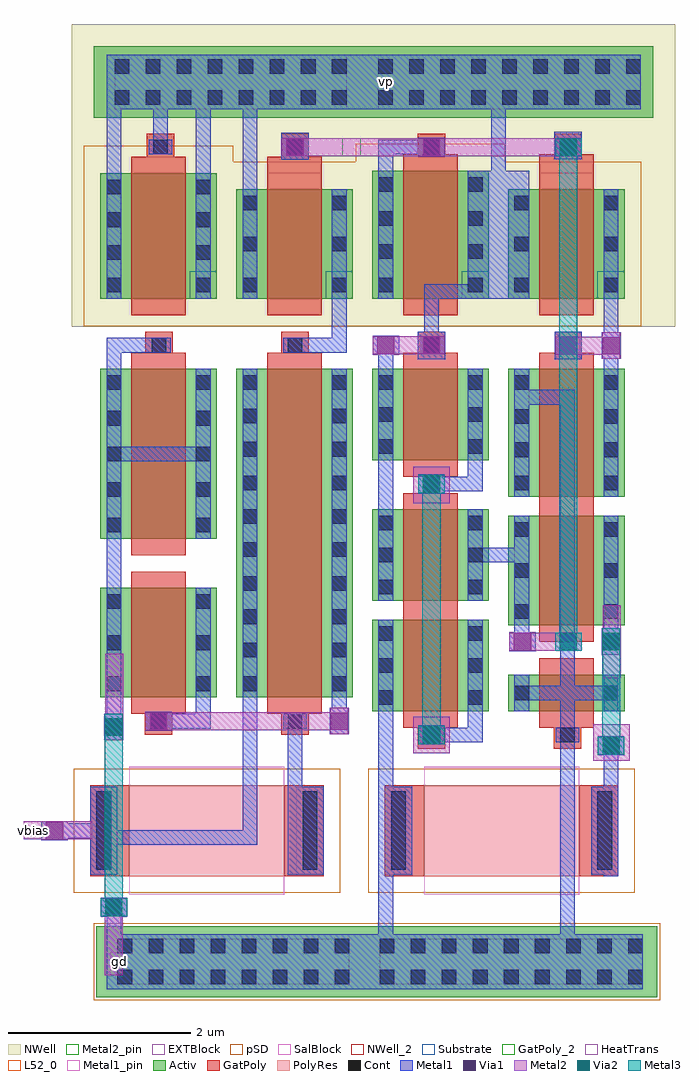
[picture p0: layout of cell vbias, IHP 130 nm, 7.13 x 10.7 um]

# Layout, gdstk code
from math import pi, radians
import gdstk
lib = gdstk.Library(unit=1e-6, precision=1e-09)
def R(c, l, rs):  # rectangles x0, y0, x1, y1
    for r in rs: c.add(gdstk.rectangle(r[:2], r[2:], *l))
def A(c, l, x, y, w, h, nx, ny, dx, dy):  # array of equal rectangles
    R(c, l, [(x+i*dx, y+j*dy, x+i*dx+w, y+j*dy+h) for i in range(nx) for j in range(ny)])
Activ = (1, 0)
GatPoly = (5, 0)
GatPoly_2 = (5, 2)
Cont = (6, 0)
Metal1 = (8, 0)
Metal1_pin = (8, 2)
Metal2 = (10, 0)
Metal2_pin = (10, 2)
pSD = (14, 0)
Via1 = (19, 0)
SalBlock = (28, 0)
Via2 = (29, 0)
Metal3 = (30, 0)
NWell = (31, 0)
NWell_2 = (31, 2)
Substrate = (40, 0)
HeatTrans = (51, 0)
L52_0 = (52, 0)
EXTBlock = (111, 0)
PolyRes = (128, 0)

via_11 = lib.new_cell('Via$11')
R(via_11, GatPoly, [(-0.15,-0.15,0.15,0.15)])
R(via_11, Cont, [(-0.08,-0.08,0.08,0.08)])
R(via_11, Metal1, [(-0.13,-0.08,0.13,0.08)])

pmos_4 = lib.new_cell('pmos$4')
R(pmos_4, Activ, [(0,0,0.3,0.3), (0,0,1.28,1.375), (0.98,0,1.28,0.3)])
R(pmos_4, GatPoly, [(0.34,-0.18,0.94,1.555), (0.34,-0.18,0.94,1.555)])
A(pmos_4, Cont, 0.07, 0.425, 0.16, 0.16, 1, 3, 0, 0.36)
A(pmos_4, Cont, 1.05, 0.425, 0.16, 0.16, 1, 3, 0, 0.36)
R(pmos_4, Cont, [(0.07,0.07,0.23,0.23), (1.05,0.07,1.21,0.23)])
R(pmos_4, Metal1, [(0.07,0,0.23,1.375), (0.07,0,0.23,1.375), (1.05,0,1.21,1.375), (1.05,0,1.21,1.375)])
R(pmos_4, pSD, [(-0.18,-0.3,1.46,1.675)])
R(pmos_4, NWell, [(-0.31,-0.31,1.59,1.685)])
R(pmos_4, Substrate, [(0.98,0,1.28,0.3)])
R(pmos_4, HeatTrans, [(0.34,-0.18,0.94,1.555)])
pmos_4.add(gdstk.Label('pmos', (0.64,0.688), layer=63, texttype=0))
pmos_4.add(gdstk.Label('pmos', (0.64,0.688), layer=51, texttype=0))

nmos_14 = lib.new_cell('nmos$14')
R(nmos_14, Activ, [(0,0,0.3,0.3), (0,0,1.28,1.86), (0.98,0,1.28,0.3)])
R(nmos_14, GatPoly, [(0.34,-0.18,0.94,2.04)])
R(nmos_14, GatPoly_2, [(0.34,-0.18,0.94,2.04)])
A(nmos_14, Cont, 0.07, 0.07, 0.16, 0.16, 1, 5, 0, 0.39)
A(nmos_14, Cont, 1.05, 0.07, 0.16, 0.16, 1, 5, 0, 0.39)
R(nmos_14, Metal1, [(0.07,0,0.23,1.86), (1.05,0,1.21,1.86)])
R(nmos_14, Metal1_pin, [(0.07,0,0.23,1.86), (1.05,0,1.21,1.86)])
R(nmos_14, HeatTrans, [(0.34,-0.18,0.94,2.04)])
nmos_14.add(gdstk.Label('nmos', (0.64,0.93), layer=63, texttype=0))
nmos_14.add(gdstk.Label('nmos', (0.64,0.93), layer=51, texttype=0))

via_19 = lib.new_cell('Via$19')
R(via_19, Metal1, [(-0.145,-0.105,0.145,0.105)])
R(via_19, Metal2, [(-0.145,-0.1,0.145,0.1)])
R(via_19, Via1, [(-0.095,-0.095,0.095,0.095)])

via_18 = lib.new_cell('Via$18')
R(via_18, Metal1, [(-0.145,-0.105,0.145,0.105)])
R(via_18, Metal2, [(-0.145,-0.1,0.145,0.1)])
R(via_18, Via1, [(-0.095,-0.095,0.095,0.095)])

via_16 = lib.new_cell('Via$16')
R(via_16, Metal2, [(-0.145,-0.1,0.145,0.1)])
R(via_16, Via2, [(-0.095,-0.095,0.095,0.095)])
R(via_16, Metal3, [(-0.145,-0.1,0.145,0.1)])

via_12 = lib.new_cell('Via$12')
R(via_12, Metal1, [(-0.145,-0.105,0.145,0.105)])
R(via_12, Metal2, [(-0.145,-0.1,0.145,0.1)])
R(via_12, Via1, [(-0.095,-0.095,0.095,0.095)])

via_15 = lib.new_cell('Via$15')
R(via_15, Metal1, [(-0.145,-0.105,0.145,0.105)])
R(via_15, Metal2, [(-0.145,-0.1,0.145,0.1)])
R(via_15, Via1, [(-0.095,-0.095,0.095,0.095)])

via_40 = lib.new_cell('Via$40')
R(via_40, Metal1, [(-0.145,-0.105,0.145,0.105)])
R(via_40, Metal2, [(-0.145,-0.1,0.145,0.1)])
R(via_40, Via1, [(-0.095,-0.095,0.095,0.095)])

ntap1_1_1 = lib.new_cell('ntap1$1$1')
R(ntap1_1_1, Activ, [(0,0,3,0.78)])
A(ntap1_1_1, Cont, 0.23, 0.14, 0.16, 0.16, 8, 2, 0.34, 0.34)
R(ntap1_1_1, Metal1, [(0.23,0.09,2.77,0.69)])
R(ntap1_1_1, Metal1_pin, [(0.23,0.09,2.77,0.69), (0.23,0.14,2.77,0.64)])
R(ntap1_1_1, NWell, [(-0.24,-0.24,3.24,1.02), (0,0,3,0.78)])
R(ntap1_1_1, NWell_2, [(0,0,3,0.78)])
ntap1_1_1.add(gdstk.Label('well', (1.5,0.01), layer=31, texttype=0))
ntap1_1_1.add(gdstk.Label('well', (1.5,0.01), layer=63, texttype=0))

pmos_2 = lib.new_cell('pmos$2')
R(pmos_2, Activ, [(0,0,0.3,0.3), (0,0,1.28,1.2), (0.98,0,1.28,0.3)])
R(pmos_2, GatPoly, [(0.34,-0.18,0.94,1.38), (0.34,-0.18,0.94,1.38)])
A(pmos_2, Cont, 0.07, 0.07, 0.16, 0.16, 1, 3, 0, 0.45)
A(pmos_2, Cont, 1.05, 0.07, 0.16, 0.16, 1, 3, 0, 0.45)
R(pmos_2, Metal1, [(0.07,0,0.23,1.2), (0.07,0,0.23,1.2), (1.05,0,1.21,1.2), (1.05,0,1.21,1.2)])
R(pmos_2, pSD, [(-0.18,-0.3,1.46,1.5)])
R(pmos_2, NWell, [(-0.31,-0.31,1.59,1.51)])
R(pmos_2, Substrate, [(0.98,0,1.28,0.3)])
R(pmos_2, HeatTrans, [(0.34,-0.18,0.94,1.38)])
pmos_2.add(gdstk.Label('pmos', (0.64,0.6), layer=63, texttype=0))
pmos_2.add(gdstk.Label('pmos', (0.64,0.6), layer=51, texttype=0))

ptap1_1_1 = lib.new_cell('ptap1$1$1')
R(ptap1_1_1, Activ, [(0,0,3,0.78)])
A(ptap1_1_1, Cont, 0.23, 0.14, 0.16, 0.16, 8, 2, 0.34, 0.34)
R(ptap1_1_1, Metal1, [(0.23,0.09,2.77,0.69), (0.23,0.14,2.77,0.64)])
R(ptap1_1_1, Metal1_pin, [(0.23,0.14,2.77,0.64)])
R(ptap1_1_1, pSD, [(-0.03,-0.03,3.03,0.81)])
R(ptap1_1_1, Substrate, [(0,0,3,0.78)])
ptap1_1_1.add(gdstk.Label('sub!', (1.5,0.01), layer=63, texttype=0))
ptap1_1_1.add(gdstk.Label('sub!', (1.5,0.01), layer=40, texttype=0))

rppd = lib.new_cell('rppd')
R(rppd, GatPoly, [(0,-0.43,1,-0.2), (0,-0.2,1,0), (0,1.7,1,1.9), (0,1.9,1,2.13)])
R(rppd, Cont, [(0.07,-0.36,0.93,-0.2), (0.07,1.9,0.93,2.06)])
R(rppd, Metal1, [(0.02,-0.43,0.98,-0.13), (0.02,1.83,0.98,2.13)])
R(rppd, Metal1_pin, [(0.02,-0.43,0.98,-0.13), (0.02,1.83,0.98,2.13)])
R(rppd, pSD, [(-0.18,-0.61,1.18,0), (-0.18,0,1.18,1.7), (-0.18,1.7,1.18,2.31)])
R(rppd, SalBlock, [(-0.2,0,1.2,1.7)])
R(rppd, L52_0, [(0,0,1,1.7)])
R(rppd, EXTBlock, [(-0.18,-0.61,1.18,0), (-0.2,0,1.2,1.7), (-0.18,1.7,1.18,2.31)])
R(rppd, PolyRes, [(0,0,1,1.7)])
rppd.add(gdstk.Label('rppd r=509.364', (0.5,0.85), layer=63, texttype=0))
rppd.add(gdstk.Label('rppd', (0.5,0.85), layer=52, texttype=0))

nmos_4 = lib.new_cell('nmos$4')
R(nmos_4, Activ, [(0,0,0.3,0.3), (0,0,1.28,1.2), (0.98,0,1.28,0.3)])
R(nmos_4, GatPoly, [(0.34,-0.18,0.94,1.38)])
R(nmos_4, GatPoly_2, [(0.34,-0.18,0.94,1.38)])
A(nmos_4, Cont, 0.07, 0.07, 0.16, 0.16, 1, 3, 0, 0.45)
A(nmos_4, Cont, 1.05, 0.07, 0.16, 0.16, 1, 3, 0, 0.45)
R(nmos_4, Metal1, [(0.07,0,0.23,1.2), (1.05,0,1.21,1.2)])
R(nmos_4, Metal1_pin, [(0.07,0,0.23,1.2), (1.05,0,1.21,1.2)])
R(nmos_4, HeatTrans, [(0.34,-0.18,0.94,1.38)])
nmos_4.add(gdstk.Label('nmos', (0.64,0.6), layer=63, texttype=0))
nmos_4.add(gdstk.Label('nmos', (0.64,0.6), layer=51, texttype=0))

nmos_5 = lib.new_cell('nmos$5')
R(nmos_5, Activ, [(0,0,0.3,0.3), (0,0,1.28,3.6), (0.98,0,1.28,0.3)])
R(nmos_5, GatPoly, [(0.34,-0.18,0.94,3.78)])
R(nmos_5, GatPoly_2, [(0.34,-0.18,0.94,3.78)])
A(nmos_5, Cont, 0.07, 0.07, 0.16, 0.16, 1, 3, 0, 0.365)
A(nmos_5, Cont, 1.05, 0.07, 0.16, 0.16, 1, 3, 0, 0.365)
A(nmos_5, Cont, 0.07, 1.17, 0.16, 0.16, 1, 3, 0, 0.365)
A(nmos_5, Cont, 1.05, 1.17, 0.16, 0.16, 1, 3, 0, 0.365)
A(nmos_5, Cont, 0.07, 2.27, 0.16, 0.16, 1, 3, 0, 0.365)
A(nmos_5, Cont, 1.05, 2.27, 0.16, 0.16, 1, 3, 0, 0.365)
R(nmos_5, Cont, [(0.07,3.37,0.23,3.53), (1.05,3.37,1.21,3.53)])
R(nmos_5, Metal1, [(0.07,0,0.23,3.6), (1.05,0,1.21,3.6)])
R(nmos_5, Metal1_pin, [(0.07,0,0.23,3.6), (1.05,0,1.21,3.6)])
R(nmos_5, HeatTrans, [(0.34,-0.18,0.94,3.78)])
nmos_5.add(gdstk.Label('nmos', (0.64,1.8), layer=63, texttype=0))
nmos_5.add(gdstk.Label('nmos', (0.64,1.8), layer=51, texttype=0))

via_5 = lib.new_cell('Via$5')
R(via_5, Metal2, [(-0.145,-0.1,0.145,0.1)])
R(via_5, Via2, [(-0.095,-0.095,0.095,0.095)])
R(via_5, Metal3, [(-0.145,-0.1,0.145,0.1)])

via_3 = lib.new_cell('Via$3')
R(via_3, Metal1, [(-0.145,-0.105,0.145,0.105)])
R(via_3, Metal2, [(-0.145,-0.1,0.145,0.1)])
R(via_3, Via1, [(-0.095,-0.095,0.095,0.095)])

nmos_6 = lib.new_cell('nmos$6')
R(nmos_6, Activ, [(0,0,0.3,0.3), (0,0,1.28,1.2), (0.98,0,1.28,0.3)])
R(nmos_6, GatPoly, [(0.34,-0.18,0.94,1.38)])
R(nmos_6, GatPoly_2, [(0.34,-0.18,0.94,1.38)])
A(nmos_6, Cont, 0.07, 0.07, 0.16, 0.16, 1, 3, 0, 0.45)
A(nmos_6, Cont, 1.05, 0.07, 0.16, 0.16, 1, 3, 0, 0.45)
R(nmos_6, Metal1, [(0.07,0,0.23,1.2), (1.05,0,1.21,1.2)])
R(nmos_6, Metal1_pin, [(0.07,0,0.23,1.2), (1.05,0,1.21,1.2)])
R(nmos_6, HeatTrans, [(0.34,-0.18,0.94,1.38)])
nmos_6.add(gdstk.Label('nmos', (0.64,0.6), layer=63, texttype=0))
nmos_6.add(gdstk.Label('nmos', (0.64,0.6), layer=51, texttype=0))

via_20 = lib.new_cell('Via$20')
R(via_20, Metal1, [(-0.145,-0.105,0.145,0.105)])
R(via_20, Metal2, [(-0.145,-0.1,0.145,0.1)])
R(via_20, Via1, [(-0.095,-0.095,0.095,0.095)])

via_8 = lib.new_cell('Via$8')
R(via_8, Metal1, [(-0.145,-0.105,0.145,0.105)])
R(via_8, Metal2, [(-0.145,-0.1,0.145,0.1)])
R(via_8, Via1, [(-0.095,-0.095,0.095,0.095)])

via_10 = lib.new_cell('Via$10')
R(via_10, Metal1, [(-0.145,-0.105,0.145,0.105)])
R(via_10, Metal2, [(-0.145,-0.1,0.145,0.1)])
R(via_10, Via1, [(-0.095,-0.095,0.095,0.095)])

pmos_1 = lib.new_cell('pmos$1')
R(pmos_1, Activ, [(0,0,0.3,0.3), (0,0,1.28,1.4), (0.98,0,1.28,0.3)])
R(pmos_1, GatPoly, [(0.34,-0.18,0.94,1.58), (0.34,-0.18,0.94,1.58)])
A(pmos_1, Cont, 0.07, 0.07, 0.16, 0.16, 1, 3, 0, 0.365)
A(pmos_1, Cont, 1.05, 0.07, 0.16, 0.16, 1, 3, 0, 0.365)
R(pmos_1, Cont, [(0.07,1.17,0.23,1.33), (1.05,1.17,1.21,1.33)])
R(pmos_1, Metal1, [(0.07,0,0.23,1.4), (0.07,0,0.23,1.4), (1.05,0,1.21,1.4), (1.05,0,1.21,1.4)])
R(pmos_1, pSD, [(-0.18,-0.3,1.46,1.7)])
R(pmos_1, NWell, [(-0.31,-0.31,1.59,1.71)])
R(pmos_1, Substrate, [(0.98,0,1.28,0.3)])
R(pmos_1, HeatTrans, [(0.34,-0.18,0.94,1.58)])
pmos_1.add(gdstk.Label('pmos', (0.64,0.7), layer=63, texttype=0))
pmos_1.add(gdstk.Label('pmos', (0.64,0.7), layer=51, texttype=0))

via_7 = lib.new_cell('Via$7')
R(via_7, Metal1, [(-0.145,-0.105,0.145,0.105)])
R(via_7, Metal2, [(-0.145,-0.1,0.145,0.1)])
R(via_7, Via1, [(-0.095,-0.095,0.095,0.095)])

via_9 = lib.new_cell('Via$9')
R(via_9, Metal1, [(-0.145,-0.105,0.145,0.105)])
R(via_9, Metal2, [(-0.145,-0.1,0.145,0.1)])
R(via_9, Via1, [(-0.095,-0.095,0.095,0.095)])

via_2 = lib.new_cell('Via$2')
R(via_2, Metal2, [(-0.145,-0.1,0.145,0.1)])
R(via_2, Via2, [(-0.095,-0.095,0.095,0.095)])
R(via_2, Metal3, [(-0.145,-0.1,0.145,0.1)])

via_6 = lib.new_cell('Via$6')
R(via_6, Metal1, [(-0.145,-0.105,0.145,0.105)])
R(via_6, Metal2, [(-0.145,-0.1,0.145,0.1)])
R(via_6, Via1, [(-0.095,-0.095,0.095,0.095)])

pmos_3 = lib.new_cell('pmos$3')
R(pmos_3, Activ, [(0,0,0.3,0.3), (0,0,1.28,1.2), (0.98,0,1.28,0.3)])
R(pmos_3, GatPoly, [(0.34,-0.18,0.94,1.38), (0.34,-0.18,0.94,1.38)])
A(pmos_3, Cont, 0.07, 0.07, 0.16, 0.16, 1, 3, 0, 0.45)
A(pmos_3, Cont, 1.05, 0.07, 0.16, 0.16, 1, 3, 0, 0.45)
R(pmos_3, Metal1, [(0.07,0,0.23,1.2), (0.07,0,0.23,1.2), (1.05,0,1.21,1.2), (1.05,0,1.21,1.2)])
R(pmos_3, pSD, [(-0.18,-0.3,1.46,1.5)])
R(pmos_3, NWell, [(-0.31,-0.31,1.59,1.51)])
R(pmos_3, Substrate, [(0.98,0,1.28,0.3)])
R(pmos_3, HeatTrans, [(0.34,-0.18,0.94,1.38)])
pmos_3.add(gdstk.Label('pmos', (0.64,0.6), layer=63, texttype=0))
pmos_3.add(gdstk.Label('pmos', (0.64,0.6), layer=51, texttype=0))

ptap1_1 = lib.new_cell('ptap1$1')
R(ptap1_1, Activ, [(0,0,3.2,0.78)])
A(ptap1_1, Cont, 0.16, 0.14, 0.16, 0.16, 9, 2, 0.34, 0.34)
R(ptap1_1, Metal1, [(0.16,0.09,3.04,0.69), (0.16,0.14,3.04,0.64)])
R(ptap1_1, Metal1_pin, [(0.16,0.14,3.04,0.64)])
R(ptap1_1, pSD, [(-0.03,-0.03,3.23,0.81)])
R(ptap1_1, Substrate, [(0,0,3.2,0.78)])
ptap1_1.add(gdstk.Label('sub!', (1.6,0.01), layer=63, texttype=0))
ptap1_1.add(gdstk.Label('sub!', (1.6,0.01), layer=40, texttype=0))

nmos_2 = lib.new_cell('nmos$2')
R(nmos_2, Activ, [(0,0,0.3,0.3), (0,0,1.28,1.4), (0.98,0,1.28,0.3)])
R(nmos_2, GatPoly, [(0.34,-0.18,0.94,1.58)])
R(nmos_2, GatPoly_2, [(0.34,-0.18,0.94,1.58)])
A(nmos_2, Cont, 0.07, 0.07, 0.16, 0.16, 1, 3, 0, 0.365)
A(nmos_2, Cont, 1.05, 0.07, 0.16, 0.16, 1, 3, 0, 0.365)
R(nmos_2, Cont, [(0.07,1.17,0.23,1.33), (1.05,1.17,1.21,1.33)])
R(nmos_2, Metal1, [(0.07,0,0.23,1.4), (1.05,0,1.21,1.4)])
R(nmos_2, Metal1_pin, [(0.07,0,0.23,1.4), (1.05,0,1.21,1.4)])
R(nmos_2, HeatTrans, [(0.34,-0.18,0.94,1.58)])
nmos_2.add(gdstk.Label('nmos', (0.64,0.7), layer=63, texttype=0))
nmos_2.add(gdstk.Label('nmos', (0.64,0.7), layer=51, texttype=0))

via_4 = lib.new_cell('Via$4')
R(via_4, Metal1, [(-0.145,-0.105,0.145,0.105)])
R(via_4, Metal2, [(-0.145,-0.1,0.145,0.1)])
R(via_4, Via1, [(-0.095,-0.095,0.095,0.095)])

nmos_1 = lib.new_cell('nmos$1')
R(nmos_1, Activ, [(0,0,0.3,0.3), (0,0,1.28,1), (0.98,0,1.28,0.3)])
R(nmos_1, GatPoly, [(0.34,-0.18,0.94,1.18)])
R(nmos_1, GatPoly_2, [(0.34,-0.18,0.94,1.18)])
A(nmos_1, Cont, 0.07, 0.07, 0.16, 0.16, 1, 3, 0, 0.35)
A(nmos_1, Cont, 1.05, 0.07, 0.16, 0.16, 1, 3, 0, 0.35)
R(nmos_1, Metal1, [(0.07,0,0.23,1), (1.05,0,1.21,1)])
R(nmos_1, Metal1_pin, [(0.07,0,0.23,1), (1.05,0,1.21,1)])
R(nmos_1, HeatTrans, [(0.34,-0.18,0.94,1.18)])
nmos_1.add(gdstk.Label('nmos', (0.64,0.5), layer=63, texttype=0))
nmos_1.add(gdstk.Label('nmos', (0.64,0.5), layer=51, texttype=0))

via_1 = lib.new_cell('Via$1')
R(via_1, GatPoly, [(-0.15,-0.15,0.15,0.15)])
R(via_1, Cont, [(-0.08,-0.08,0.08,0.08)])
R(via_1, Metal1, [(-0.13,-0.08,0.13,0.08)])

nmos_3 = lib.new_cell('nmos$3')
R(nmos_3, Activ, [(0,0,0.3,0.3), (0,0,1.28,0.4), (0.98,0,1.28,0.3)])
R(nmos_3, GatPoly, [(0.34,-0.18,0.94,0.58)])
R(nmos_3, GatPoly_2, [(0.34,-0.18,0.94,0.58)])
R(nmos_3, Cont, [(0.07,0.12,0.23,0.28), (1.05,0.12,1.21,0.28)])
R(nmos_3, Metal1, [(0.07,0,0.23,0.4), (1.05,0,1.21,0.4)])
R(nmos_3, Metal1_pin, [(0.07,0,0.23,0.4), (1.05,0,1.21,0.4)])
R(nmos_3, HeatTrans, [(0.34,-0.18,0.94,0.58)])
nmos_3.add(gdstk.Label('nmos', (0.64,0.2), layer=63, texttype=0))
nmos_3.add(gdstk.Label('nmos', (0.64,0.2), layer=51, texttype=0))

via_13 = lib.new_cell('Via$13')
R(via_13, Metal1, [(-0.145,-0.105,0.145,0.105)])
R(via_13, Metal2, [(-0.145,-0.1,0.145,0.1)])
R(via_13, Via1, [(-0.095,-0.095,0.095,0.095)])

rppd_1 = lib.new_cell('rppd$1')
R(rppd_1, GatPoly, [(0,-0.43,1,-0.2), (0,-0.2,1,0), (0,1.7,1,1.9), (0,1.9,1,2.13)])
R(rppd_1, Cont, [(0.07,-0.36,0.93,-0.2), (0.07,1.9,0.93,2.06)])
R(rppd_1, Metal1, [(0.02,-0.43,0.98,-0.13), (0.02,1.83,0.98,2.13)])
R(rppd_1, Metal1_pin, [(0.02,-0.43,0.98,-0.13), (0.02,1.83,0.98,2.13)])
R(rppd_1, pSD, [(-0.18,-0.61,1.18,0), (-0.18,0,1.18,1.7), (-0.18,1.7,1.18,2.31)])
R(rppd_1, SalBlock, [(-0.2,0,1.2,1.7)])
R(rppd_1, L52_0, [(0,0,1,1.7)])
R(rppd_1, EXTBlock, [(-0.18,-0.61,1.18,0), (-0.2,0,1.2,1.7), (-0.18,1.7,1.18,2.31)])
R(rppd_1, PolyRes, [(0,0,1,1.7)])
rppd_1.add(gdstk.Label('rppd r=509.364', (0.5,0.85), layer=63, texttype=0))
rppd_1.add(gdstk.Label('rppd', (0.5,0.85), layer=52, texttype=0))

ntap1_1 = lib.new_cell('ntap1$1')
R(ntap1_1, Activ, [(0,0,3.15,0.78)])
A(ntap1_1, Cont, 0.135, 0.14, 0.16, 0.16, 9, 2, 0.34, 0.34)
R(ntap1_1, Metal1, [(0.135,0.09,3.015,0.69)])
R(ntap1_1, Metal1_pin, [(0.135,0.09,3.015,0.69), (0.135,0.14,3.015,0.64)])
R(ntap1_1, NWell, [(-0.24,-0.24,3.39,1.02), (0,0,3.15,0.78)])
R(ntap1_1, NWell_2, [(0,0,3.15,0.78)])
ntap1_1.add(gdstk.Label('well', (1.575,0.01), layer=31, texttype=0))
ntap1_1.add(gdstk.Label('well', (1.575,0.01), layer=63, texttype=0))

curr_source = lib.new_cell('curr_source')
R(curr_source, GatPoly, [(3.695,6.615,4.295,6.815)])
R(curr_source, Metal1, [(1.935,-1.07,2.305,-0.115), (2.365,4.57,2.665,4.87), (3.865,4.57,4.165,4.87), (2.915,5.235,3.585,6.635), (3.86,6.765,4.16,7.065)])
R(curr_source, Metal1_pin, [(1.95,-2.14,2.15,-1.94), (1.95,7.545,2.08,7.675)])
R(curr_source, Metal2, [(4.29,0.17,4.69,0.57), (2.315,0.255,2.715,0.655), (4.39,1.075,4.59,1.875), (2.315,2.995,2.715,3.395)])
R(curr_source, Metal2_pin, [(1.54,6.795,1.74,6.995)])
R(curr_source, NWell, [(1.555,4.925,5.185,8.245)])
curr_source.add(gdstk.FlexPath([(2.015,-1.53),(2.015,-2.33)], 0.16, ends="flush", simple_path=True, layer=8, datatype=0))  # Metal1
curr_source.add(gdstk.FlexPath([(4.005,-1.68),(4.005,-2.33)], 0.16, ends="flush", simple_path=True, layer=8, datatype=0))  # Metal1
curr_source.add(gdstk.FlexPath([(4.485,1.655),(4.485,1.48)], 0.16, ends="flush", simple_path=True, layer=8, datatype=0))  # Metal1
curr_source.add(gdstk.FlexPath([(4.485,0.335),(4.485,-1.095)], 0.16, ends="flush", simple_path=True, layer=8, datatype=0))  # Metal1
curr_source.add(gdstk.FlexPath([(3.995,0.915),(3.585,0.915),(3.585,0.915)], 0.16, ends="flush", simple_path=True, layer=8, datatype=0))  # Metal1
curr_source.add(gdstk.FlexPath([(3.995,0.915),(4.405,0.915)], 0.16, ends="flush", simple_path=True, layer=8, datatype=0))  # Metal1
curr_source.add(gdstk.FlexPath([(2.515,3.205),(3.075,3.205)], 0.16, ends="flush", simple_path=True, layer=8, datatype=0))  # Metal1
curr_source.add(gdstk.FlexPath([(2.015,2.925),(2.015,3.465)], 0.16, ends="flush", simple_path=True, layer=8, datatype=0))  # Metal1
curr_source.add(gdstk.FlexPath([(4.005,-0.815),(4.005,-1.775)], 0.16, ends="flush", simple_path=True, layer=8, datatype=0))  # Metal1
curr_source.add(gdstk.FlexPath([(2.015,4.465),(2.015,4.62)], 0.16, ends="flush", simple_path=True, layer=8, datatype=0))  # Metal1
curr_source.add(gdstk.FlexPath([(2.645,0.455),(3.075,0.455)], 0.16, ends="flush", simple_path=True, layer=8, datatype=0))  # Metal1
curr_source.add(gdstk.FlexPath([(2.995,3.465),(2.995,3.285)], 0.16, ends="flush", simple_path=True, layer=8, datatype=0))  # Metal1
curr_source.add(gdstk.FlexPath([(3.25,6.635),(3.25,7.315)], 0.16, ends="flush", simple_path=True, layer=8, datatype=0))  # Metal1
curr_source.add(gdstk.FlexPath([(2.995,0.715),(2.995,0.375)], 0.16, ends="flush", simple_path=True, layer=8, datatype=0))  # Metal1
curr_source.add(gdstk.FlexPath([(2.515,0.455),(2.515,0.455)], 0.16, ends="flush", simple_path=True, layer=8, datatype=0))  # Metal1
curr_source.add(gdstk.FlexPath([(4.485,4.72),(4.485,4.72)], 0.16, ends="flush", simple_path=True, layer=8, datatype=0))  # Metal1
curr_source.add(gdstk.FlexPath([(2.515,4.725),(2.515,4.725)], 0.16, ends="flush", simple_path=True, layer=8, datatype=0))  # Metal1
curr_source.add(gdstk.FlexPath([(4.015,6.895),(4.015,6.895)], 0.16, ends="flush", simple_path=True, layer=8, datatype=0))  # Metal1
curr_source.add(gdstk.FlexPath([(2.015,6.635),(2.015,6.885),(2.015,6.89),(2.015,6.895),(2.385,6.895),(2.385,6.895),(2.385,6.895)], 0.16, ends="flush", simple_path=True, layer=8, datatype=0))  # Metal1
curr_source.add(gdstk.FlexPath([(2.365,6.895),(2.515,6.895)], 0.16, ends="flush", simple_path=True, layer=8, datatype=0))  # Metal1
curr_source.add(gdstk.FlexPath([(2.515,5.15),(2.515,5.395)], 0.16, ends="flush", simple_path=True, layer=8, datatype=0))  # Metal1
curr_source.add(gdstk.FlexPath([(4.485,5.235),(4.485,4.48)], 0.16, ends="flush", simple_path=True, layer=8, datatype=0))  # Metal1
curr_source.add(gdstk.FlexPath([(4.485,4.49),(4.485,4.465)], 0.16, ends="flush", simple_path=True, layer=8, datatype=0))  # Metal1
curr_source.add(gdstk.FlexPath([(3.075,2.425),(3.425,2.425)], 0.16, ends="flush", simple_path=True, layer=8, datatype=0))  # Metal1
curr_source.add(gdstk.FlexPath([(2.515,4.805),(2.515,5.2)], 0.16, ends="flush", simple_path=True, layer=8, datatype=0))  # Metal1
curr_source.add(gdstk.FlexPath([(3.575,4.155),(4.005,4.155),(4.005,-0.965)], 0.16, ends="flush", simple_path=True, layer=8, datatype=0))  # Metal1
curr_source.add(gdstk.FlexPath([(2.015,0.715),(2.015,-1.725),(2.015,-1.725)], 0.16, ends="flush", simple_path=True, layer=8, datatype=0))  # Metal1
curr_source.add(gdstk.FlexPath([(2.995,3.34),(2.995,3.125)], 0.16, ends="flush", simple_path=True, layer=8, datatype=0))  # Metal1
curr_source.add(gdstk.FlexPath([(2.915,5.315),(2.435,5.315)], 0.16, ends="flush", simple_path=True, layer=8, datatype=0))  # Metal1
curr_source.add(gdstk.FlexPath([(3.505,1.655),(3.505,1.575)], 0.16, ends="flush", simple_path=True, layer=8, datatype=0))  # Metal1
curr_source.add(gdstk.FlexPath([(4.485,1.48),(4.485,1.48)], 0.2, ends="flush", simple_path=True, layer=10, datatype=0))  # Metal2
curr_source.add(gdstk.FlexPath([(4.485,0.335),(4.485,0.335)], 0.2, ends="flush", simple_path=True, layer=10, datatype=0))  # Metal2
curr_source.add(gdstk.FlexPath([(4.015,1.475),(3.65,1.475)], 0.2, ends="flush", simple_path=True, layer=10, datatype=0))  # Metal2
curr_source.add(gdstk.FlexPath([(2.515,6.895),(1.54,6.895)], 0.2, ends="flush", simple_path=True, layer=10, datatype=0))  # Metal2
curr_source.add(gdstk.FlexPath([(2.515,6.895),(4.015,6.895)], 0.2, ends="flush", simple_path=True, layer=10, datatype=0))  # Metal2
curr_source.add(gdstk.FlexPath([(2.515,4.725),(1.87,4.725)], 0.2, ends="flush", simple_path=True, layer=10, datatype=0))  # Metal2
curr_source.add(gdstk.FlexPath([(4.015,4.72),(4.485,4.72)], 0.2, ends="flush", simple_path=True, layer=10, datatype=0))  # Metal2
curr_source.add(gdstk.FlexPath([(2.515,0.455),(2.515,0.455)], 0.2, ends="flush", simple_path=True, layer=10, datatype=0))  # Metal2
curr_source.add(gdstk.FlexPath([(2.515,3.205),(2.515,3.205)], 0.2, ends="flush", simple_path=True, layer=10, datatype=0))  # Metal2
curr_source.add(gdstk.FlexPath([(3.695,1.475),(3.515,1.475)], 0.16, ends="flush", simple_path=True, layer=10, datatype=0))  # Metal2
curr_source.add(gdstk.FlexPath([(4.015,6.895),(4.015,6.895)], 0.16, ends="flush", simple_path=True, layer=10, datatype=0))  # Metal2
curr_source.add(gdstk.FlexPath([(4.485,1.48),(4.485,0.335)], 0.2, ends="flush", simple_path=True, layer=30, datatype=0))  # Metal3
curr_source.add(gdstk.FlexPath([(2.515,0.455),(2.515,2.99)], 0.2, ends="flush", simple_path=True, layer=30, datatype=0))  # Metal3
curr_source.add(gdstk.FlexPath([(2.515,2.96),(2.515,3.18)], 0.2, ends="flush", simple_path=True, layer=30, datatype=0))  # Metal3
curr_source.add(gdstk.FlexPath([(4.015,1.58),(4.015,1.475)], 0.2, ends="flush", simple_path=True, layer=30, datatype=0))  # Metal3
curr_source.add(gdstk.FlexPath([(2.515,3.14),(2.515,3.205)], 0.2, ends="flush", simple_path=True, layer=30, datatype=0))  # Metal3
curr_source.add(gdstk.FlexPath([(4.015,6.895),(4.015,1.58)], 0.2, ends="flush", simple_path=True, layer=30, datatype=0))  # Metal3
curr_source.add(gdstk.Reference(via_5, (2.515,0.455)))
curr_source.add(gdstk.Reference(via_5, (2.515,3.205)))
curr_source.add(gdstk.Reference(via_5, (4.015,6.895)))
curr_source.add(gdstk.Reference(via_3, (4.015,6.895)))
curr_source.add(gdstk.Reference(nmos_6, (3.355,1.655)))
curr_source.add(gdstk.Reference(via_20, (2.515,6.895)))
curr_source.add(gdstk.Reference(via_8, (2.515,3.205)))
curr_source.add(gdstk.Reference(via_10, (2.515,0.455)))
curr_source.add(gdstk.Reference(pmos_1, (1.865,5.235)))
curr_source.add(gdstk.Reference(via_7, (4.485,4.72), rotation=3*pi/2))
curr_source.add(gdstk.Reference(via_9, (4.015,4.72)))
curr_source.add(gdstk.Reference(via_2, (4.015,1.475)))
curr_source.add(gdstk.Reference(via_7, (2.515,4.725)))
curr_source.add(gdstk.Reference(via_6, (2.015,4.725)))
curr_source.add(gdstk.Reference(pmos_3, (3.355,5.235)))
curr_source.add(gdstk.Reference(ptap1_1, (1.79,-2.42)))
curr_source.add(gdstk.Reference(nmos_2, (3.355,3.065)))
curr_source.add(gdstk.Reference(via_4, (3.515,1.475)))
curr_source.add(gdstk.Reference(nmos_1, (1.865,0.715)))
curr_source.add(gdstk.Reference(nmos_1, (1.865,1.925)))
curr_source.add(gdstk.Reference(nmos_1, (1.865,3.465)))
curr_source.add(gdstk.Reference(via_1, (2.515,0.455)))
curr_source.add(gdstk.Reference(via_1, (2.515,4.725)))
curr_source.add(gdstk.Reference(via_1, (4.015,4.725)))
curr_source.add(gdstk.Reference(via_1, (2.515,6.895)))
curr_source.add(gdstk.Reference(via_1, (4.015,6.895)))
curr_source.add(gdstk.Reference(nmos_3, (3.355,0.715)))
curr_source.add(gdstk.Reference(via_1, (4.005,0.455)))
curr_source.add(gdstk.Reference(via_13, (4.485,1.48), rotation=3*pi/2))
curr_source.add(gdstk.Reference(via_5, (4.485,1.48), rotation=3*pi/2))
curr_source.add(gdstk.Reference(via_5, (4.485,0.335)))
curr_source.add(gdstk.Reference(via_13, (4.485,0.335)))
curr_source.add(gdstk.Reference(rppd_1, (2.435,-0.095), rotation=3*pi/2))
curr_source.add(gdstk.Reference(ntap1_1, (1.795,7.22)))
curr_source.add(gdstk.Label('gd', (2.05,-2.04), layer=8, texttype=25))
curr_source.add(gdstk.Label('vp', (1.99,7.61), layer=8, texttype=25))
curr_source.add(gdstk.Label('iref', (1.567,6.897), layer=10, texttype=25))

vbias = lib.new_cell('vbias')
R(vbias, GatPoly, [(9.015,17.53,9.615,17.705)])
R(vbias, Metal1, [(9.755,8.585,10.565,9.185), (9.755,8.635,10.41,9.135), (9.24,9.84,9.635,10.8), (9.17,17.67,9.47,17.97), (9.725,18.225,10.46,18.825), (9.725,18.275,10.39,18.775)])
R(vbias, Metal1_pin, [(7.295,8.79,7.495,8.99), (10.225,18.43,10.425,18.63)])
R(vbias, Metal2, [(7.235,8.735,7.435,9.485), (6.35,10.225,7.1,10.425), (7.24,11.51,7.44,12.26)])
R(vbias, Metal2_pin, [(6.35,10.225,6.55,10.425)])
R(vbias, NWell, [(6.875,15.84,8.775,19.16), (8.365,15.84,11.155,19.16)])
vbias.add(gdstk.FlexPath([(7.335,9.25),(7.335,8.585)], 0.16, ends="flush", simple_path=True, layer=8, datatype=0))  # Metal1
vbias.add(gdstk.FlexPath([(7.335,18.23),(7.335,18.825)], 0.16, ends="flush", simple_path=True, layer=8, datatype=0))  # Metal1
vbias.add(gdstk.FlexPath([(7.075,10.32),(6.685,10.32)], 0.16, ends="flush", simple_path=True, layer=8, datatype=0))  # Metal1
vbias.add(gdstk.FlexPath([(8.825,11.78),(8.825,10.245),(7.375,10.245)], 0.16, ends="flush", simple_path=True, layer=8, datatype=0))  # Metal1
vbias.add(gdstk.FlexPath([(7.335,11.455),(7.335,11.78),(7.335,11.78)], 0.16, ends="flush", simple_path=True, layer=8, datatype=0))  # Metal1
vbias.add(gdstk.FlexPath([(7.335,9.48),(7.335,9.19)], 0.16, ends="flush", simple_path=True, layer=8, datatype=0))  # Metal1
vbias.add(gdstk.FlexPath([(8.315,11.78),(8.315,11.44)], 0.16, ends="flush", simple_path=True, layer=8, datatype=0))  # Metal1
vbias.add(gdstk.FlexPath([(7.825,11.52),(8.395,11.52)], 0.16, ends="flush", simple_path=True, layer=8, datatype=0))  # Metal1
vbias.add(gdstk.FlexPath([(9.805,11.78),(9.805,11.615)], 0.16, ends="flush", simple_path=True, layer=8, datatype=0))  # Metal1
vbias.add(gdstk.FlexPath([(7.825,11.52),(7.825,11.52)], 0.16, ends="flush", simple_path=True, layer=8, datatype=0))  # Metal1
vbias.add(gdstk.FlexPath([(9.32,11.52),(9.32,9.84)], 0.16, ends="flush", simple_path=True, layer=8, datatype=0))  # Metal1
vbias.add(gdstk.FlexPath([(8.825,17.35),(8.825,18.23)], 0.16, ends="flush", simple_path=True, layer=8, datatype=0))  # Metal1
vbias.add(gdstk.FlexPath([(9.805,16.15),(9.805,15.56)], 0.16, ends="flush", simple_path=True, layer=8, datatype=0))  # Metal1
vbias.add(gdstk.FlexPath([(9.45,15.64),(9.885,15.64)], 0.16, ends="flush", simple_path=True, layer=8, datatype=0))  # Metal1
vbias.add(gdstk.FlexPath([(9.32,17.81),(9.32,17.81)], 0.16, ends="flush", simple_path=True, layer=8, datatype=0))  # Metal1
vbias.add(gdstk.FlexPath([(7.335,13.52),(7.335,12.98)], 0.16, ends="flush", simple_path=True, layer=8, datatype=0))  # Metal1
vbias.add(gdstk.FlexPath([(7.335,15.38),(7.335,15.72)], 0.16, ends="flush", simple_path=True, layer=8, datatype=0))  # Metal1
vbias.add(gdstk.FlexPath([(7.83,15.64),(7.255,15.64)], 0.16, ends="flush", simple_path=True, layer=8, datatype=0))  # Metal1
vbias.add(gdstk.FlexPath([(8.235,14.45),(7.415,14.45)], 0.16, ends="flush", simple_path=True, layer=8, datatype=0))  # Metal1
vbias.add(gdstk.FlexPath([(8.315,17.525),(8.315,18.23),(8.315,18.23)], 0.16, ends="flush", simple_path=True, layer=8, datatype=0))  # Metal1
vbias.add(gdstk.FlexPath([(7.335,17.525),(7.335,18.23)], 0.16, ends="flush", simple_path=True, layer=8, datatype=0))  # Metal1
vbias.add(gdstk.FlexPath([(7.845,17.81),(7.845,18.23)], 0.16, ends="flush", simple_path=True, layer=8, datatype=0))  # Metal1
vbias.add(gdstk.FlexPath([(7.335,9.48),(7.335,9.48)], 0.2, ends="flush", simple_path=True, layer=10, datatype=0))  # Metal2
vbias.add(gdstk.FlexPath([(7.335,11.455),(7.335,11.455)], 0.2, ends="flush", simple_path=True, layer=10, datatype=0))  # Metal2
vbias.add(gdstk.FlexPath([(7.905,11.52),(7.825,11.52)], 0.2, ends="flush", simple_path=True, layer=10, datatype=0))  # Metal2
vbias.add(gdstk.FlexPath([(7.885,11.52),(9.805,11.52)], 0.2, ends="flush", simple_path=True, layer=10, datatype=0))  # Metal2
vbias.add(gdstk.FlexPath([(9.94,17.81),(9.32,17.81)], 0.2, ends="flush", simple_path=True, layer=10, datatype=0))  # Metal2
vbias.add(gdstk.FlexPath([(7.335,11.475),(7.335,9.48)], 0.2, ends="flush", simple_path=True, layer=30, datatype=0))  # Metal3
vbias.add(gdstk.Reference(via_11, (7.83,15.64)))
vbias.add(gdstk.Reference(via_11, (7.845,17.81)))
vbias.add(gdstk.Reference(pmos_4, (7.185,16.15)))
vbias.add(gdstk.Reference(nmos_14, (7.185,13.52)))
vbias.add(gdstk.Reference(via_19, (6.685,10.32)))
vbias.add(gdstk.Reference(via_18, (7.335,9.48)))
vbias.add(gdstk.Reference(via_16, (7.335,9.48)))
vbias.add(gdstk.Reference(via_16, (7.335,11.455), rotation=3*pi/2))
vbias.add(gdstk.Reference(via_12, (7.335,11.455), rotation=3*pi/2))
vbias.add(gdstk.Reference(via_15, (9.805,11.52), rotation=3*pi/2))
vbias.add(gdstk.Reference(via_40, (7.825,11.52)))
vbias.add(gdstk.Reference(via_11, (7.825,11.52)))
vbias.add(gdstk.Reference(via_11, (9.32,11.52)))
vbias.add(gdstk.Reference(via_11, (9.32,15.64)))
vbias.add(gdstk.Reference(via_11, (9.32,17.81)))
vbias.add(gdstk.Reference(via_40, (9.32,17.81)))
vbias.add(gdstk.Reference(ntap1_1_1, (7.115,18.135)))
vbias.add(gdstk.Reference(pmos_2, (8.675,16.15)))
vbias.add(gdstk.Reference(ptap1_1_1, (7.145,8.495)))
vbias.add(gdstk.Reference(rppd, (7.505,10.82), rotation=3*pi/2))
vbias.add(gdstk.Reference(nmos_4, (7.185,11.78)))
vbias.add(gdstk.Reference(nmos_5, (9.955,15.38), rotation=pi))
vbias.add(gdstk.Reference(curr_source, (8.3,10.915)))
vbias.add(gdstk.Label('gd', (7.395,8.89), layer=8, texttype=25))
vbias.add(gdstk.Label('vp', (10.325,18.53), layer=8, texttype=25))
vbias.add(gdstk.Label('vbias', (6.45,10.325), layer=10, texttype=25))

lib.write_gds('vbias.gds')
